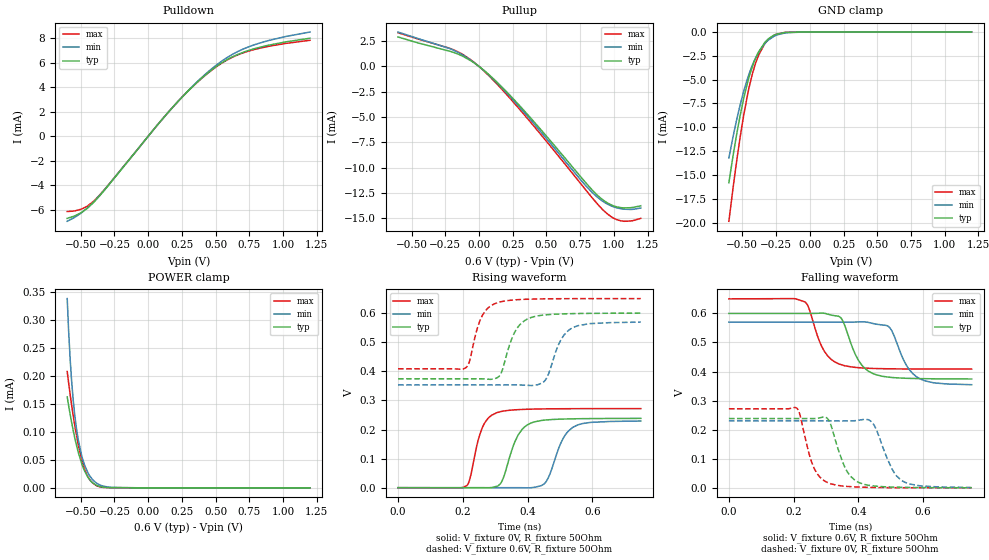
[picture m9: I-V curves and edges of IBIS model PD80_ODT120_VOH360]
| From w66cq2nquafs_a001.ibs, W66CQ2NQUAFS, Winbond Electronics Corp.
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[Model]   PD80_ODT120_VOH360
Model_type   I/O
Polarity   Non-Inverting
Enable   Active-Low
Vinl = 0.11
Vinh = 0.25
Vmeas = 0.18
Vref = 0
Cref = 0pF
Rref = 120
|   typ   min   max
C_comp   0.85pF   0.80pF   0.90pF
[Voltage Range]   0.6   0.57   0.65
[Temperature Range]   25   125   -40
[Pullup Reference]   0.6   0.57   0.65
[Pulldown Reference]   0   0   0
[Power Clamp Reference]   0.6   0.57   0.65
[GND Clamp Reference]   0   0   0
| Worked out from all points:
|   slope of the pulldown table from 0 to 0.09 V, typ, clamps not added: 74.8 ohm
|   slope of the pullup table from 0 to 0.09 V, typ, clamps not added: 89.4 ohm
|   GND clamp passes 1 mA (typ) near -0.33 V on its own axis
|   falling waveform, V_fixture 0.6V, R_fixture 50Ohm: 20-80 % time 53.8ps typ, 55.4ps min, 51.2ps max; typ from 0.6 V to 0.374 V
|   rising waveform, V_fixture 0V, R_fixture 50Ohm: 20-80 % time 47.3ps typ, 49ps min, 38.1ps max; typ from 0 V to 0.238 V
|   rising waveform, V_fixture 0.6V, R_fixture 50Ohm: 20-80 % time 45.9ps typ, 47.2ps min, 40.7ps max; typ from 0.374 V to 0.6 V
|   falling waveform, V_fixture 0V, R_fixture 50Ohm: 20-80 % time 48.4ps typ, 52.8ps min, 43.2ps max; typ from 0.238 V to 0 V
[Pulldown]
|   Voltage   I(typ)   I(min)   I(max)
-600mV    -6.681mA   -6.917mA   -6.124mA
-491.4mV  -6.176mA   -6.202mA   -5.911mA
-450.5mV  -5.852mA   -5.831mA   -5.681mA
-402.6mV  -5.363mA   -5.321mA   -5.268mA
-304.9mV  -4.136mA   -4.107mA   -4.095mA
156mV     2.046mA    2.04mA     2.041mA
338.2mV   4.145mA    4.176mA    4.131mA
475.1mV   5.439mA    5.533mA    5.417mA
623.3mV   6.462mA    6.663mA    6.431mA
760.2mV   7.048mA    7.351mA    6.989mA
893.4mV   7.423mA    7.804mA    7.33mA
1.2V      7.988mA    8.493mA    7.822mA
[GND Clamp]
|   Voltage   I(typ)   I(min)   I(max)
-600mV    -15.82mA   -13.22mA   -19.87mA
-568.8mV  -12.97mA   -10.97mA   -16.35mA
-517.4mV  -8.84mA    -7.709mA   -11.14mA
-490.8mV  -7.024mA   -6.256mA   -8.797mA
-450.5mV  -4.742mA   -4.413mA   -5.839mA
-426.4mV  -3.657mA   -3.508mA   -4.434mA
-381mV    -2.12mA    -2.155mA   -2.474mA
-334.8mV  -1.115mA   -1.234mA   -1.241mA
-304.9mV  -687.3uA   -819.7uA   -741uA
-188.4mV  -53.46uA   -111.3uA   -49.42uA
-59.4mV   -1.454uA   -6.578uA   -463.8nA
1.2V      0A         0A         0A
[Pullup]
|   Voltage   I(typ)   I(min)   I(max)
-600mV    2.903mA    3.391mA    3.32mA
-187.9mV  1.38mA     1.596mA    1.636mA
-118.8mV  995.9uA    1.113mA    1.172mA
-31.25mV  298.3uA    325.5uA    351.9uA
112.2mV   -1.283mA   -1.351mA   -1.445mA
298.9mV   -3.841mA   -3.99mA    -4.197mA
764.6mV   -11.06mA   -11.37mA   -11.74mA
876.3mV   -12.69mA   -12.89mA   -13.55mA
953.3mV   -13.49mA   -13.6mA    -14.58mA
1.025V    -13.88mA   -13.98mA   -15.15mA
1.124V    -13.95mA   -14.13mA   -15.27mA
1.2V      -13.76mA   -13.99mA   -15.01mA
[POWER Clamp]
|   Voltage   I(typ)   I(min)   I(max)
-600mV    162.4uA    337.9uA    207.7uA
-589.7mV  147.3uA    281.5uA    188uA
-578.9mV  132.2uA    232.9uA    168.2uA
-566.9mV  116.5uA    189.7uA    147.5uA
-555.6mV  102.5uA    157uA      128.9uA
-544.1mV  89.49uA    130uA      111.7uA
-519.6mV  64.93uA    87.77uA    78.91uA
-491.1mV  42.35uA    55.89uA    48.96uA
-450.5mV  20.53uA    29uA       21.55uA
-382.8mV  4.529uA    8.341uA    3.834uA
-284.8mV  265.5nA    969.1nA    84.79nA
1.2V      0A         0A         0A
[Ramp]
R_load = 50
|   typ   min   max
dV/dt_r 1.4295E-01/4.6824E-11   1.3754E-01/4.9035E-11   1.6308E-01/3.8073E-11
dV/dt_f 1.3532E-01/5.3566E-11   1.2914E-01/5.5444E-11   1.4483E-01/5.1091E-11
[Falling Waveform]
V_fixture = 0.6V
V_fixture_min = 0.57V
V_fixture_max = 0.65V
R_fixture = 50Ohm
C_fixture = 0F
|   Time   V(typ)   V(min)   V(max)
0s        600mV      570mV      650mV
235ps     600mV      570mV      639.8mV
290ps     600.9mV    570mV      479.9mV
340ps     589.8mV    570mV      426.2mV
410ps     423.1mV    570.9mV    412.7mV
487ps     381.7mV    558.5mV    409.6mV
504ps     379.7mV    539.2mV    409.4mV
548ps     376.9mV    422.5mV    409mV
580ps     376mV      381.9mV    408.8mV
750ps     374.5mV    354.8mV    408.6mV
[Rising Waveform]
V_fixture = 0V
V_fixture_min = 0V
V_fixture_max = 0V
R_fixture = 50Ohm
C_fixture = 0F
|   Time   V(typ)   V(min)   V(max)
0s        6.127uV    49.66uV    1.206uV
213ps     5.964uV    49.66uV    7.747mV
260ps     -81.22uV   49.73uV    205.3mV
305ps     4.843mV    49.43uV    257.8mV
371ps     180.9mV    30.52uV    268.3mV
410ps     221.9mV    -128.4uV   269.9mV
457ps     232.8mV    19.93mV    270.9mV
504ps     235.7mV    156mV      271.4mV
540ps     236.7mV    207.5mV    271.6mV
750ps     238.3mV    229.3mV    271.8mV
[Rising Waveform]
V_fixture = 0.6V
V_fixture_min = 0.57V
V_fixture_max = 0.65V
R_fixture = 50Ohm
C_fixture = 0F
|   Time   V(typ)   V(min)   V(max)
0s        374.3mV    353.2mV    408.6mV
208ps     374.3mV    353.2mV    411.4mV
261ps     374.2mV    353.2mV    593mV
314ps     385.4mV    353.2mV    638.1mV
356ps     524.3mV    353.3mV    645.3mV
400ps     580.1mV    351.8mV    647.8mV
457ps     594.3mV    372.6mV    649.2mV
498ps     597.1mV    497.1mV    649.6mV
533ps     598.2mV    545.8mV    649.8mV
750ps     599.9mV    569.1mV    650mV
[Falling Waveform]
|Gnd
V_fixture = 0V
V_fixture_min = 0V
V_fixture_max = 0V
R_fixture = 50Ohm
C_fixture = 0F
|   Time   V(typ)   V(min)   V(max)
0s        238.4mV    230.3mV    271.8mV
210ps     238.4mV    230.3mV    274.2mV
261ps     238.1mV    230.3mV    73.32mV
315ps     216.3mV    230.3mV    13.88mV
360ps     67.12mV    230.2mV    5.268mV
400ps     19.16mV    232.4mV    2.705mV
445ps     6.708mV    221.7mV    1.31mV
504ps     2.69mV     65.13mV    520.3uV
534ps     1.811mV    25.13mV    314.3uV
750ps     125.2uV    1.166mV    -10.25uV
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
